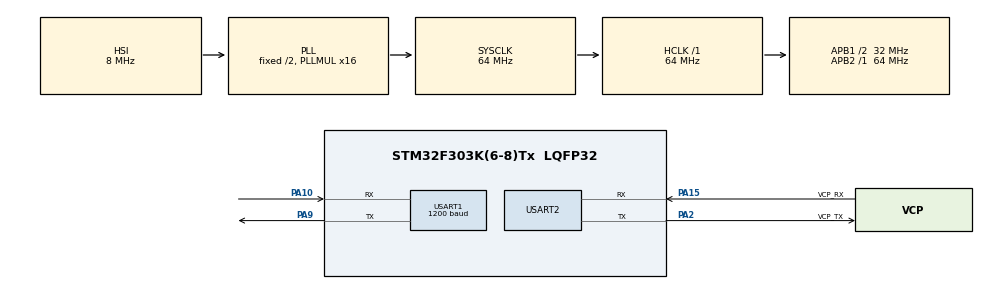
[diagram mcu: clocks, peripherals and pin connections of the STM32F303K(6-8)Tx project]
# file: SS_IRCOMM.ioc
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Mcu.Family=STM32F3
Mcu.Name=STM32F303K(6-8)Tx
Mcu.Package=LQFP32
NVIC.PriorityGroup=NVIC_PRIORITYGROUP_4
NVIC.TIM1_UP_TIM16_IRQn=true\:0\:0\:false\:false\:true\:true\:true\:true
PA10.GPIO_PuPd=GPIO_PULLUP
PA10.Mode=Asynchronous
PA10.Signal=USART1_RX
PA13.GPIO_Label=SWDIO
PA13.Mode=Serial_Wire
PA13.Signal=SYS_JTMS-SWDIO
PA14.GPIO_Label=SWCLK
PA14.Mode=Serial_Wire
PA14.Signal=SYS_JTCK-SWCLK
PA15.GPIO_Label=VCP_RX
PA15.Mode=Asynchronous
PA15.Signal=USART2_RX
PA2.GPIO_Label=VCP_TX
PA2.Mode=Asynchronous
PA2.Signal=USART2_TX
PA9.GPIO_PuPd=GPIO_PULLUP
PA9.Mode=Asynchronous
PA9.Signal=USART1_TX
PF0\ /\ OSC_IN.GPIO_Label=MCO
PF0\ /\ OSC_IN.Signal=RCC_OSC_IN
ProjectManager.HeapSize=0x200
ProjectManager.StackSize=0x400
ProjectManager.TargetToolchain=STM32CubeIDE
RCC.AHBFreq_Value=64000000
RCC.APB1CLKDivider=RCC_HCLK_DIV2
RCC.APB1Freq_Value=32000000
RCC.APB1TimFreq_Value=64000000
RCC.APB2Freq_Value=64000000
RCC.APB2TimFreq_Value=64000000
RCC.CortexFreq_Value=64000000
RCC.HCLKFreq_Value=64000000
RCC.HSE_VALUE=8000000
RCC.HSI_VALUE=8000000
RCC.PLLMUL=RCC_PLL_MUL16
RCC.SYSCLKFreq_VALUE=64000000
RCC.SYSCLKSourceVirtual=RCC_SYSCLKSOURCE_PLLCLK
TIM1.AutoReloadPreload=TIM_AUTORELOAD_PRELOAD_ENABLE
TIM1.Period=1000
TIM1.Prescaler=72-1
USART1.BaudRate=1200
USART1.OverrunDisableParam=ADVFEATURE_OVERRUN_DISABLE
USART1.VirtualMode-Asynchronous=VM_ASYNC
USART2.VirtualMode-Asynchronous=VM_ASYNC
VP_TIM1_VS_ClockSourceINT.Mode=Internal
board=NUCLEO-F303K8

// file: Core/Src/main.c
/* USER CODE BEGIN Header */
/**
  ******************************************************************************
  * @file           : main.c
  * @brief          : Main program body
  ******************************************************************************
  * @attention
  *
  * Copyright (c) 2024 STMicroelectronics.
  * All rights reserved.
  *
  * This software is licensed under terms that can be found in the LICENSE file
  * in the root directory of this software component.
  * If no LICENSE file comes with this software, it is provided AS-IS.
  *
  ******************************************************************************
  */
/* USER CODE END Header */
#include "main.h"

TIM_HandleTypeDef htim1;

UART_HandleTypeDef huart1;
UART_HandleTypeDef huart2;

void SystemClock_Config(void);
static void MX_GPIO_Init(void);
static void MX_USART2_UART_Init(void);
static void MX_TIM1_Init(void);
static void MX_USART1_UART_Init(void);

/* USER CODE BEGIN 0 */
void USART1_ISR(coid) {
	uint32_t isrflags = huart1.Instance->ISR;
	uint32_t cr1its = huart1.Instance->CR1;
	uint32_t errorflags = (isrflags & (uint32_t) (USART_ISR_PE | USART_ISR_FE | USART_ISR_ORE | USART_ISR_NE | USART_ISR_RTOF));
	/* UART in mode Receiver ---------------------------------------------------*/
	if (((isrflags & USART_ISR_RXNE) != 0U) && ((cr1its & USART_CR1_RXNEIE) != 0U)) {
		return;
	}
	/* UART in mode Transmitter ------------------------------------------------*/
	if (((isrflags & USART_ISR_TXE) != 0U) && ((cr1its & USART_CR1_TXEIE) != 0U)) {
		return;
	}
	/* UART in mode Transmitter (transmission end) -----------------------------*/
	if (((isrflags & USART_ISR_TC) != 0U) && ((cr1its & USART_CR1_TCIE) != 0U)) {
		return;
	}
}
void next_crc16(uint8_t *crc_h, uint8_t *crc_l, uint8_t dat) {
	uint8_t x = *crc_h ^ dat;
	x ^= x >> 4;
	*crc_h = *crc_l ^ (x << 4) ^ (x >> 3);
	*crc_l = (x << 5) ^ x;
}

int serial_send(uint8_t *buffer, size_t length) {
	while(length--) {
		while((huart1.Instance->ISR & USART_ISR_TXE) == 0);
		huart1.Instance->TDR = *buffer++;
	}
	return 0;
}

int send_packet(uint8_t pkid, uint8_t cmd, uint8_t len, uint8_t *dat) {
	if (len > 16)
		return -1;
	uint8_t crch = 0xFF;
	uint8_t crcl = 0xFF;
	uint8_t buffer[16 + 7] = {
		0xA5, 0xA5, pkid, cmd, len, 0, 0, 0, 0, 0, 0, 0, 0, 0, 0, 0, 0, 0, 0, 0, 0, 0, 0,
	};
	next_crc16(&crch, &crcl, 0xA5);
	next_crc16(&crch, &crcl, 0xA5);
	next_crc16(&crch, &crcl, pkid);
	next_crc16(&crch, &crcl, cmd);
	next_crc16(&crch, &crcl, len);
	for (int i = 0; i < len; i++) {
		buffer[5 + i] = dat[i];
		next_crc16(&crch, &crcl, dat[i]);
	}
	buffer[5 + len] = crch;
	buffer[6 + len] = crcl;
	return serial_send(buffer, len + 7);
}

int serial_readch(uint8_t *ch) {
	//if((huart1.Instance->ISR & USART_ISR_ORE) != 0)
	//	huart1.Instance->ICR = UART_CLEAR_OREF;
	if((huart1.Instance->ISR & USART_ISR_RXNE) != 0) {
		*ch = huart1.Instance->RDR;
		return 1;
	}
	return 0;
}

int receive_packet(uint8_t *pkid, uint8_t *command, uint8_t *length, uint8_t *buffer, uint32_t timeout) {
	static uint8_t header_pos = 0;
	uint32_t now = HAL_GetTick();
	uint8_t ch;
	uint8_t crch = 0xFF;
	uint8_t crcl = 0xFF;
	uint8_t rx_idx;
	uint8_t rx_pkid;
	uint8_t rx_cmd;
	uint8_t rx_len;
	uint8_t rx_buf[16];
	int n;
	while (1) {
		if (HAL_GetTick() - now > timeout) {
			header_pos = 0;
			return 0;
		}
		n = serial_readch(&ch);
		if (n < 0)
			return n;
		if (n > 0) {
			switch (header_pos) {
				case 0: // first start char
					if (ch == 0xA5) {
						header_pos++;
						crch = crcl = 0xFF;
						next_crc16(&crch, &crcl, 0xA5);
					}
					break;
				case 1: // second start char
					if (ch == 0xA5) {
						header_pos++;
						next_crc16(&crch, &crcl, 0xA5);
					} else {
						header_pos = 0;
					}
					break;
				case 2: // packet id byte
					rx_pkid = ch;
					next_crc16(&crch, &crcl, ch);
					header_pos++;
					break;
				case 3: // command byte
					rx_cmd = ch;
					next_crc16(&crch, &crcl, ch);
					header_pos++;
					break;
				case 4: // data length byte
					rx_len = ch;
					rx_idx = 0;
					next_crc16(&crch, &crcl, ch);
					header_pos++;
					if (rx_len == 0)
						header_pos++;
					else if (rx_len > 16)
						header_pos = 0;
					break;
				case 5: // data
					rx_buf[rx_idx++] = ch;
					next_crc16(&crch, &crcl, ch);
					if (rx_idx >= rx_len)
						header_pos++;
					break;
				case 6: // crc high byte
					if (ch == crch)
						header_pos++;
					else
						header_pos = 0;
					break;
				case 7: // crc low byte
					if (ch == crcl) {
						*pkid = rx_pkid;
						*command = rx_cmd;
						*length = rx_len;
						for (int i = 0; i < rx_len; i++)
							buffer[i] = rx_buf[i];
						header_pos = 0;
						return 1;
					}
					header_pos = 0;
					break;
				default:
					header_pos = 0;
					return 0;
			}
		}
	}
}

/* USER CODE END 0 */

int main(void)
{

  /* MCU Configuration--------------------------------------------------------*/

  /* Reset of all peripherals, Initializes the Flash interface and the Systick. */
  HAL_Init();

  /* Configure the system clock */
  SystemClock_Config();

  /* Initialize all configured peripherals */
  MX_GPIO_Init();
  MX_USART2_UART_Init();
  MX_TIM1_Init();
  MX_USART1_UART_Init();
  /* USER CODE BEGIN 2 */
  //HAL_TIM_Base_Start_IT(&htim1);
  /* USER CODE END 2 */

  /* Infinite loop */
  /* USER CODE BEGIN WHILE */
  while (1)
  {
	  uint8_t rx_pkid;
	  uint8_t rx_cmd;
	  uint8_t rx_len;
	  uint8_t rx_dat[16];
		if(receive_packet(&rx_pkid, &rx_cmd, &rx_len, rx_dat, 10000)) {
			rx_cmd ^= 0xFF;
			HAL_Delay(30);
			rx_pkid |= 0x80;
			send_packet(rx_pkid, rx_cmd, rx_len, rx_dat);
		}
    /* USER CODE END WHILE */

  }
}

void SystemClock_Config(void)
{
  RCC_OscInitTypeDef RCC_OscInitStruct = {0};
  RCC_ClkInitTypeDef RCC_ClkInitStruct = {0};
  RCC_PeriphCLKInitTypeDef PeriphClkInit = {0};

  /** Initializes the RCC Oscillators according to the specified parameters
  * in the RCC_OscInitTypeDef structure.
  */
  RCC_OscInitStruct.OscillatorType = RCC_OSCILLATORTYPE_HSI;
  RCC_OscInitStruct.HSIState = RCC_HSI_ON;
  RCC_OscInitStruct.HSICalibrationValue = RCC_HSICALIBRATION_DEFAULT;
  RCC_OscInitStruct.PLL.PLLState = RCC_PLL_ON;
  RCC_OscInitStruct.PLL.PLLSource = RCC_PLLSOURCE_HSI;
  RCC_OscInitStruct.PLL.PLLMUL = RCC_PLL_MUL16;
  if (HAL_RCC_OscConfig(&RCC_OscInitStruct) != HAL_OK)
  {
    Error_Handler();
  }

  /** Initializes the CPU, AHB and APB buses clocks
  */
  RCC_ClkInitStruct.ClockType = RCC_CLOCKTYPE_HCLK|RCC_CLOCKTYPE_SYSCLK
                              |RCC_CLOCKTYPE_PCLK1|RCC_CLOCKTYPE_PCLK2;
  RCC_ClkInitStruct.SYSCLKSource = RCC_SYSCLKSOURCE_PLLCLK;
  RCC_ClkInitStruct.AHBCLKDivider = RCC_SYSCLK_DIV1;
  RCC_ClkInitStruct.APB1CLKDivider = RCC_HCLK_DIV2;
  RCC_ClkInitStruct.APB2CLKDivider = RCC_HCLK_DIV1;

  if (HAL_RCC_ClockConfig(&RCC_ClkInitStruct, FLASH_LATENCY_2) != HAL_OK)
  {
    Error_Handler();
  }
  PeriphClkInit.PeriphClockSelection = RCC_PERIPHCLK_USART1|RCC_PERIPHCLK_TIM1;
  PeriphClkInit.Usart1ClockSelection = RCC_USART1CLKSOURCE_PCLK1;
  PeriphClkInit.Tim1ClockSelection = RCC_TIM1CLK_HCLK;
  if (HAL_RCCEx_PeriphCLKConfig(&PeriphClkInit) != HAL_OK)
  {
    Error_Handler();
  }
}

static void MX_TIM1_Init(void)
{

  TIM_ClockConfigTypeDef sClockSourceConfig = {0};
  TIM_MasterConfigTypeDef sMasterConfig = {0};

  htim1.Instance = TIM1;
  htim1.Init.Prescaler = 72-1;
  htim1.Init.CounterMode = TIM_COUNTERMODE_UP;
  htim1.Init.Period = 1000;
  htim1.Init.ClockDivision = TIM_CLOCKDIVISION_DIV1;
  htim1.Init.RepetitionCounter = 0;
  htim1.Init.AutoReloadPreload = TIM_AUTORELOAD_PRELOAD_ENABLE;
  if (HAL_TIM_Base_Init(&htim1) != HAL_OK)
  {
    Error_Handler();
  }
  sClockSourceConfig.ClockSource = TIM_CLOCKSOURCE_INTERNAL;
  if (HAL_TIM_ConfigClockSource(&htim1, &sClockSourceConfig) != HAL_OK)
  {
    Error_Handler();
  }
  sMasterConfig.MasterOutputTrigger = TIM_TRGO_RESET;
  sMasterConfig.MasterOutputTrigger2 = TIM_TRGO2_RESET;
  sMasterConfig.MasterSlaveMode = TIM_MASTERSLAVEMODE_DISABLE;
  if (HAL_TIMEx_MasterConfigSynchronization(&htim1, &sMasterConfig) != HAL_OK)
  {
    Error_Handler();
  }

}

static void MX_USART1_UART_Init(void)
{

  huart1.Instance = USART1;
  huart1.Init.BaudRate = 1200;
  huart1.Init.WordLength = UART_WORDLENGTH_8B;
  huart1.Init.StopBits = UART_STOPBITS_1;
  huart1.Init.Parity = UART_PARITY_NONE;
  huart1.Init.Mode = UART_MODE_TX_RX;
  huart1.Init.HwFlowCtl = UART_HWCONTROL_NONE;
  huart1.Init.OverSampling = UART_OVERSAMPLING_16;
  huart1.Init.OneBitSampling = UART_ONE_BIT_SAMPLE_DISABLE;
  huart1.AdvancedInit.AdvFeatureInit = UART_ADVFEATURE_RXOVERRUNDISABLE_INIT;
  huart1.AdvancedInit.OverrunDisable = UART_ADVFEATURE_OVERRUN_DISABLE;
  if (HAL_UART_Init(&huart1) != HAL_OK)
  {
    Error_Handler();
  }

}

static void MX_USART2_UART_Init(void)
{

  huart2.Instance = USART2;
  huart2.Init.BaudRate = 38400;
  huart2.Init.WordLength = UART_WORDLENGTH_8B;
  huart2.Init.StopBits = UART_STOPBITS_1;
  huart2.Init.Parity = UART_PARITY_NONE;
  huart2.Init.Mode = UART_MODE_TX_RX;
  huart2.Init.HwFlowCtl = UART_HWCONTROL_NONE;
  huart2.Init.OverSampling = UART_OVERSAMPLING_16;
  huart2.Init.OneBitSampling = UART_ONE_BIT_SAMPLE_DISABLE;
  huart2.AdvancedInit.AdvFeatureInit = UART_ADVFEATURE_NO_INIT;
  if (HAL_UART_Init(&huart2) != HAL_OK)
  {
    Error_Handler();
  }

}

static void MX_GPIO_Init(void)
{

  /* GPIO Ports Clock Enable */
  __HAL_RCC_GPIOF_CLK_ENABLE();
  __HAL_RCC_GPIOA_CLK_ENABLE();

}

void Error_Handler(void)
{
  __disable_irq();
  while (1)
  {
  }
}
